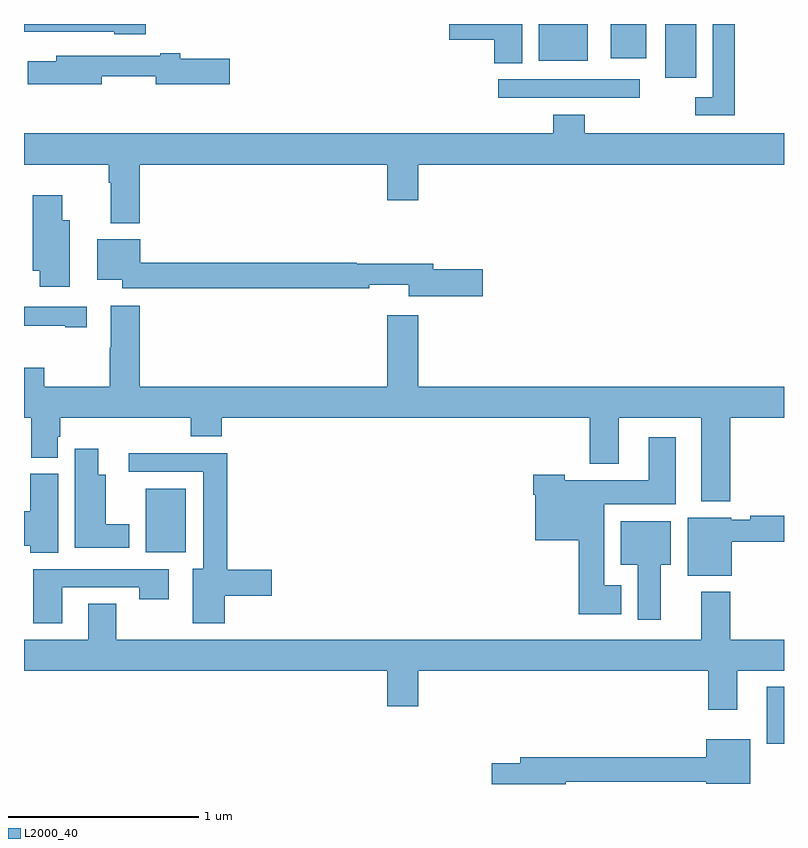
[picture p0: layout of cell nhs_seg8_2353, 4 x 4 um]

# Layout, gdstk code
import gdstk
lib = gdstk.Library(unit=1e-6, precision=1e-09)
def R(c, l, rs):  # rectangles x0, y0, x1, y1
    for r in rs: c.add(gdstk.rectangle(r[:2], r[2:], *l))
def P(c, l, *ps):  # polygons
    for p in ps: c.add(gdstk.Polygon(p, *l))
L2000_40 = (2000, 40)

nhs_seg8_2353 = lib.new_cell('nhs_seg8_2353')
R(nhs_seg8_2353, L2000_40, [(262.91,1120.113,263,1120.411), (259.64,1121.12,259.852,1121.455), (261.495,1123.512,262.24,1123.608), (262.376,1123.617,262.537,1123.9), (261.71,1123.706,261.967,1123.9), (262.088,1123.721,262.276,1123.9)])
P(nhs_seg8_2353, L2000_40, [(261.622,1123.9),(261.237,1123.9),(261.237,1123.817),(261.476,1123.817),(261.476,1123.693),(261.622,1123.693)],
  [(259.642,1123.9),(259,1123.9),(259,1123.86),(259.476,1123.86),(259.476,1123.847),(259.642,1123.847)],
  [(262.742,1123.9),(262.626,1123.9),(262.626,1123.515),(262.533,1123.515),(262.533,1123.419),(262.742,1123.419)],
  [(259.408,1123.626),(259.694,1123.626),(259.694,1123.583),(260.083,1123.583),(260.083,1123.718),(259.822,1123.718),(259.822,1123.747),(259.718,1123.747),(259.718,1123.734),(259.169,1123.734),(259.169,1123.705),(259.02,1123.705),(259.02,1123.583),(259.408,1123.583)],
  [(259.61,1123.16),(260.912,1123.16),(260.912,1122.972),(261.076,1122.972),(261.076,1123.16),(263,1123.16),(263,1123.324),(261.95,1123.324),(261.95,1123.423),(261.785,1123.423),(261.785,1123.324),(259,1123.324),(259,1123.16),(259.445,1123.16),(259.445,1123.064),(259.457,1123.064),(259.457,1122.851),(259.61,1122.851)],
  [(259.24,1122.868),(259.201,1122.868),(259.201,1123),(259.046,1123),(259.046,1122.602),(259.082,1122.602),(259.082,1122.516),(259.24,1122.516)],
  [(261.415,1122.608),(261.154,1122.608),(261.154,1122.637),(260.75,1122.637),(260.75,1122.644),(259.612,1122.644),(259.612,1122.766),(259.385,1122.766),(259.385,1122.554),(259.518,1122.554),(259.518,1122.508),(260.816,1122.508),(260.816,1122.527),(261.026,1122.527),(261.026,1122.466),(261.415,1122.466)],
  [(259.107,1122.091),(259,1122.091),(259,1121.828),(259.037,1121.828),(259.037,1121.617),(259.177,1121.617),(259.177,1121.727),(259.19,1121.727),(259.19,1121.828),(259.877,1121.828),(259.877,1121.729),(260.041,1121.729),(260.041,1121.828),(261.977,1121.828),(261.977,1121.585),(262.129,1121.585),(262.129,1121.828),(262.565,1121.828),(262.565,1121.387),(262.718,1121.387),(262.718,1121.828),(263,1121.828),(263,1121.992),(261.076,1121.992),(261.076,1122.367),(260.912,1122.367),(260.912,1121.992),(259.61,1121.992),(259.61,1122.418),(259.457,1122.418),(259.457,1122.197),(259.45,1122.197),(259.45,1121.992),(259.107,1121.992)],
  [(259.33,1122.411),(259,1122.411),(259,1122.313),(259.217,1122.313),(259.217,1122.303),(259.33,1122.303)],
  [(262.144,1120.945),(262.054,1120.945),(262.054,1121.372),(262.429,1121.372),(262.429,1121.725),(262.289,1121.725),(262.289,1121.5),(261.846,1121.5),(261.846,1121.527),(261.68,1121.527),(261.68,1121.423),(261.692,1121.423),(261.692,1121.183),(261.92,1121.183),(261.92,1120.793),(262.144,1120.793)],
  [(259.555,1121.266),(259.429,1121.266),(259.429,1121.527),(259.39,1121.527),(259.39,1121.665),(259.268,1121.665),(259.268,1121.144),(259.555,1121.144)],
  [(260.056,1120.892),(260.305,1120.892),(260.305,1121.027),(260.069,1121.027),(260.069,1121.642),(259.551,1121.642),(259.551,1121.544),(259.943,1121.544),(259.943,1121.032),(259.889,1121.032),(259.889,1120.746),(260.056,1120.746)],
  [(259.18,1121.532),(259.034,1121.532),(259.034,1121.336),(259,1121.336),(259,1121.153),(259.034,1121.153),(259.034,1121.116),(259.18,1121.116)],
  [(262.726,1121.176),(263,1121.176),(263,1121.312),(262.822,1121.312),(262.822,1121.292),(262.722,1121.292),(262.722,1121.302),(262.493,1121.302),(262.493,1120.997),(262.726,1120.997)],
  [(262.351,1121.054),(262.405,1121.054),(262.405,1121.284),(262.142,1121.284),(262.142,1121.054),(262.229,1121.054),(262.229,1120.764),(262.351,1120.764)],
  [(259.201,1120.935),(259.606,1120.935),(259.606,1120.872),(259.762,1120.872),(259.762,1121.031),(259.049,1121.031),(259.049,1120.746),(259.201,1120.746)],
  [(262.753,1120.496),(263,1120.496),(263,1120.66),(262.718,1120.66),(262.718,1120.912),(262.565,1120.912),(262.565,1120.66),(259.485,1120.66),(259.485,1120.85),(259.337,1120.85),(259.337,1120.66),(259,1120.66),(259,1120.496),(260.912,1120.496),(260.912,1120.308),(261.076,1120.308),(261.076,1120.496),(262.601,1120.496),(262.601,1120.29),(262.753,1120.29)],
  [(261.85,1119.913),(262.592,1119.913),(262.592,1119.902),(262.822,1119.902),(262.822,1120.135),(262.592,1120.135),(262.592,1120.042),(261.611,1120.042),(261.611,1120.008),(261.462,1120.008),(261.462,1119.9),(261.85,1119.9)])

lib.write_gds('nhs_seg8_2353.gds')
